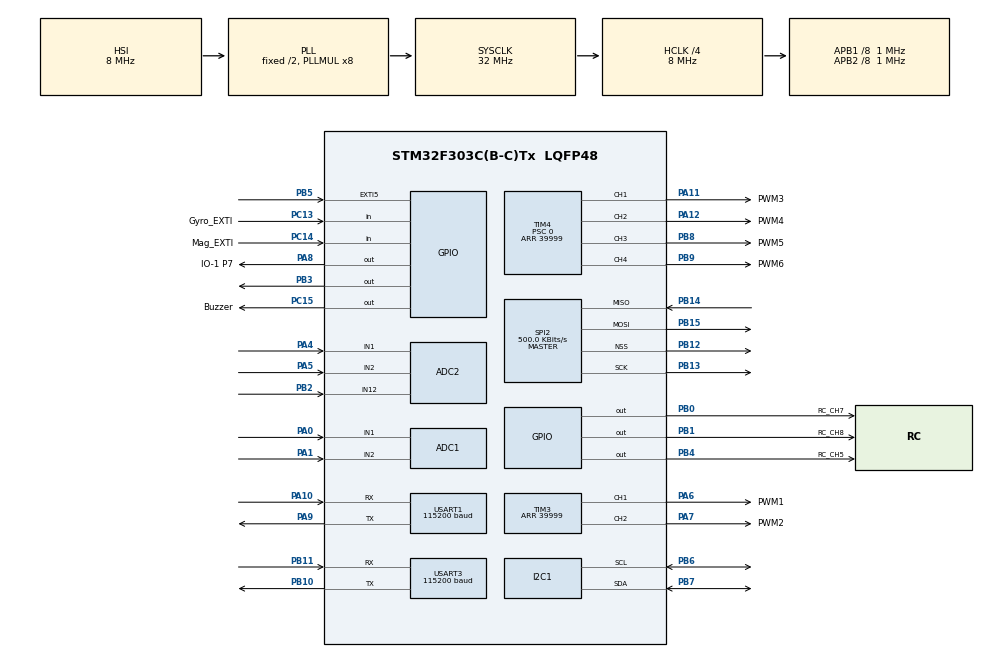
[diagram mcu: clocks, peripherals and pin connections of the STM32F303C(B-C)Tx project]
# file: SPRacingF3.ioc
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ADC1.Channel-0\#ChannelRegularConversion=ADC_CHANNEL_2
ADC1.NbrOfConversionFlag=1
ADC1.Offset-0\#ChannelRegularConversion=0
ADC1.OffsetNumber-0\#ChannelRegularConversion=ADC_OFFSET_NONE
ADC1.Rank-0\#ChannelRegularConversion=1
ADC1.SamplingTime-0\#ChannelRegularConversion=ADC_SAMPLETIME_1CYCLE_5
ADC1.master=1
ADC2.Channel-0\#ChannelRegularConversion=ADC_CHANNEL_1
ADC2.NbrOfConversionFlag=1
ADC2.Offset-0\#ChannelRegularConversion=0
ADC2.OffsetNumber-0\#ChannelRegularConversion=ADC_OFFSET_NONE
ADC2.Rank-0\#ChannelRegularConversion=1
ADC2.SamplingTime-0\#ChannelRegularConversion=ADC_SAMPLETIME_1CYCLE_5
Dma.Request0=USART3_RX
Dma.Request1=USART3_TX
Dma.USART3_RX.0.Direction=DMA_PERIPH_TO_MEMORY
Dma.USART3_RX.0.Instance=DMA1_Channel3
Dma.USART3_RX.0.MemDataAlignment=DMA_MDATAALIGN_BYTE
Dma.USART3_RX.0.MemInc=DMA_MINC_ENABLE
Dma.USART3_RX.0.Mode=DMA_CIRCULAR
Dma.USART3_RX.0.PeriphDataAlignment=DMA_PDATAALIGN_BYTE
Dma.USART3_RX.0.PeriphInc=DMA_PINC_DISABLE
Dma.USART3_RX.0.Priority=DMA_PRIORITY_LOW
Dma.USART3_TX.1.Direction=DMA_MEMORY_TO_PERIPH
Dma.USART3_TX.1.Instance=DMA1_Channel2
Dma.USART3_TX.1.MemDataAlignment=DMA_MDATAALIGN_BYTE
Dma.USART3_TX.1.MemInc=DMA_MINC_ENABLE
Dma.USART3_TX.1.Mode=DMA_NORMAL
Dma.USART3_TX.1.PeriphDataAlignment=DMA_PDATAALIGN_BYTE
Dma.USART3_TX.1.PeriphInc=DMA_PINC_DISABLE
Dma.USART3_TX.1.Priority=DMA_PRIORITY_LOW
FREERTOS.Tasks01=defaultTask,24,128,StartDefaultTask,Default,NULL,Dynamic,NULL,NULL
I2C1.Timing=0x00201D2B
Mcu.Family=STM32F3
Mcu.Name=STM32F303C(B-C)Tx
Mcu.Package=LQFP48
NVIC.DMA1_Channel2_IRQn=true\:5\:0\:false\:false\:true\:true\:false\:true\:true
NVIC.DMA1_Channel3_IRQn=true\:5\:0\:false\:false\:true\:true\:false\:true\:true
NVIC.PriorityGroup=NVIC_PRIORITYGROUP_4
NVIC.TIM1_UP_TIM16_IRQn=true\:15\:0\:false\:false\:true\:false\:false\:true\:true
NVIC.TimeBase=TIM1_UP_TIM16_IRQn
NVIC.TimeBaseIP=TIM1
NVIC.USART1_IRQn=true\:5\:0\:false\:false\:true\:true\:true\:true\:true
NVIC.USART3_IRQn=true\:5\:0\:false\:false\:true\:true\:true\:true\:true
PA0.Mode=IN1-Single-Ended
PA0.Signal=ADC1_IN1
PA1.Mode=IN2-Single-Ended
PA1.Signal=ADC1_IN2
PA10.Mode=Asynchronous
PA10.Signal=USART1_RX
PA11.GPIO_Label=PWM3
PA11.Signal=S_TIM4_CH1
PA12.GPIO_Label=PWM4
PA12.Signal=S_TIM4_CH2
PA13.Mode=Serial_Wire
PA13.Signal=SYS_JTMS-SWDIO
PA14.Mode=Serial_Wire
PA14.Signal=SYS_JTCK-SWCLK
PA2.Signal=S_TIM2_CH3
PA3.Signal=USART2_RX
PA4.Mode=IN1-Single-Ended
PA4.Signal=ADC2_IN1
PA5.Mode=IN2-Single-Ended
PA5.Signal=ADC2_IN2
PA6.GPIO_Label=PWM1
PA6.Signal=S_TIM3_CH1
PA7.GPIO_Label=PWM2
PA7.Signal=S_TIM3_CH2
PA8.GPIO_Label=IO-1 P7
PA8.Signal=GPIO_Output
PA9.Mode=Asynchronous
PA9.Signal=USART1_TX
PB0.GPIO_Label=RC_CH7
PB0.Signal=GPIO_Output
PB1.GPIO_Label=RC_CH8
PB1.Signal=GPIO_Output
PB10.Mode=Asynchronous
PB10.Signal=USART3_TX
PB11.Mode=Asynchronous
PB11.Signal=USART3_RX
PB12.Mode=NSS_Signal_Hard_Output
PB12.Signal=SPI2_NSS
PB13.Mode=Full_Duplex_Master
PB13.Signal=SPI2_SCK
PB14.Mode=Full_Duplex_Master
PB14.Signal=SPI2_MISO
PB15.Mode=Full_Duplex_Master
PB15.Signal=SPI2_MOSI
PB2.Mode=IN12-Single-Ended
PB2.Signal=ADC2_IN12
PB3.Signal=GPIO_Output
PB4.GPIO_Label=RC_CH5
PB4.Signal=GPIO_Output
PB5.Signal=GPXTI5
PB6.Mode=I2C
PB6.Signal=I2C1_SCL
PB7.Mode=I2C
PB7.Signal=I2C1_SDA
PB8.GPIO_Label=PWM5
PB8.Signal=S_TIM4_CH3
PB9.GPIO_Label=PWM6
PB9.Signal=S_TIM4_CH4
PC13.GPIO_Label=Gyro_EXTI
PC13.Signal=GPIO_Input
PC14-OSC32_IN.GPIO_Label=Mag_EXTI
PC14-OSC32_IN.Signal=GPIO_Input
PC15-OSC32_OUT.GPIO_Label=Buzzer
PC15-OSC32_OUT.Signal=GPIO_Output
PF0-OSC_IN.Mode=HSE-External-Oscillator
PF0-OSC_IN.Signal=RCC_OSC_IN
PF1-OSC_OUT.Mode=HSE-External-Oscillator
PF1-OSC_OUT.Signal=RCC_OSC_OUT
ProjectManager.HeapSize=0x200
ProjectManager.StackSize=0x400
ProjectManager.TargetToolchain=CMake
RCC.AHBCLKDivider=RCC_SYSCLK_DIV4
RCC.AHBFreq_Value=8000000
RCC.APB1CLKDivider=RCC_HCLK_DIV8
RCC.APB1Freq_Value=1000000
RCC.APB1TimFreq_Value=2000000
RCC.APB2CLKDivider=RCC_HCLK_DIV8
RCC.APB2Freq_Value=1000000
RCC.APB2TimFreq_Value=2000000
RCC.CortexFreq_Value=8000000
RCC.HCLKFreq_Value=8000000
RCC.HSE_VALUE=8000000
RCC.HSI_VALUE=8000000
RCC.LSE_VALUE=32768
RCC.PLLMUL=RCC_PLL_MUL8
RCC.SYSCLKFreq_VALUE=32000000
RCC.SYSCLKSourceVirtual=RCC_SYSCLKSOURCE_PLLCLK
RCC.USBFreq_Value=32000000
RCC.Usart1ClockSelection=RCC_USART1CLKSOURCE_HSI
RCC.Usart2ClockSelection=RCC_USART2CLKSOURCE_HSI
RCC.Usart3ClockSelection=RCC_USART3CLKSOURCE_HSI
SH.S_TIM2_CH3.0=TIM2_CH3
SH.S_TIM3_CH1.0=TIM3_CH1,PWM Generation1 CH1
SH.S_TIM3_CH2.0=TIM3_CH2,PWM Generation2 CH2
SH.S_TIM4_CH1.0=TIM4_CH1,PWM Generation1 CH1
SH.S_TIM4_CH2.0=TIM4_CH2,PWM Generation2 CH2
SH.S_TIM4_CH3.0=TIM4_CH3,PWM Generation3 CH3
SH.S_TIM4_CH4.0=TIM4_CH4,PWM Generation4 CH4
SPI2.BaudRatePrescaler=SPI_BAUDRATEPRESCALER_2
SPI2.CalculateBaudRate=500.0 KBits/s
SPI2.DataSize=SPI_DATASIZE_8BIT
SPI2.Direction=SPI_DIRECTION_2LINES
SPI2.Mode=SPI_MODE_MASTER
SPI2.VirtualNSS=VM_NSSHARD
SPI2.VirtualType=VM_MASTER
TIM2.Period=39999
TIM3.Channel-PWM\ Generation1\ CH1=TIM_CHANNEL_1
TIM3.Channel-PWM\ Generation2\ CH2=TIM_CHANNEL_2
TIM3.Period=39999
TIM4.Channel-PWM\ Generation1\ CH1=TIM_CHANNEL_1
TIM4.Channel-PWM\ Generation2\ CH2=TIM_CHANNEL_2
TIM4.Channel-PWM\ Generation3\ CH3=TIM_CHANNEL_3
TIM4.Channel-PWM\ Generation4\ CH4=TIM_CHANNEL_4
TIM4.Period=39999
TIM4.Prescaler=0
TIM7.Period=999
TIM7.Prescaler=7
USART1.BaudRate=115200
USART1.VirtualMode-Asynchronous=VM_ASYNC
USART3.BaudRate=115200
USART3.VirtualMode-Asynchronous=VM_ASYNC
VP_ADC1_TempSens_Input.Mode=IN-TempSens
VP_ADC1_Vbat_Input.Mode=IN-Vbat
VP_FREERTOS_VS_CMSIS_V2.Mode=CMSIS_V2
VP_SYS_VS_tim1.Mode=TIM1
VP_TIM2_VS_ClockSourceINT.Mode=Internal
VP_TIM3_VS_ClockSourceINT.Mode=Internal
VP_TIM4_VS_ClockSourceINT.Mode=Internal
VP_TIM7_VS_ClockSourceINT.Mode=Enable_Timer
board=custom

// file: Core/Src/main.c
/* USER CODE BEGIN Header */
/**
  ******************************************************************************
  * @file           : main.c
  * @brief          : Main program body
  ******************************************************************************
  * @attention
  *
  * Copyright (c) 2025 STMicroelectronics.
  * All rights reserved.
  *
  * This software is licensed under terms that can be found in the LICENSE file
  * in the root directory of this software component.
  * If no LICENSE file comes with this software, it is provided AS-IS.
  *
  ******************************************************************************
  */
/* USER CODE END Header */
#include "main.h"
#include "cmsis_os.h"
#include "adc.h"
#include "dma.h"
#include "i2c.h"
#include "spi.h"
#include "tim.h"
#include "usart.h"
#include "gpio.h"

/* USER CODE BEGIN Includes */
#include <stdio.h>
#include "Uart.h"
#include "TelemetryStream.h"
/* USER CODE END Includes */

/* USER CODE BEGIN PTD */
// volatile uint8_t MS5837counter = 0;
volatile uint8_t sample_flag = 0;
volatile uint32_t packetsendcounter = 0;

volatile uint8_t sensorsampleflag = 0;
volatile uint8_t sensorcounter = 0;

volatile uint8_t orientationcounter = 0;
volatile uint8_t orientationsampleflag = 0;

volatile uint8_t powercounter = 0;
volatile uint8_t powersampleflag = 0;

volatile uint8_t environmentalcounter = 0;
volatile uint8_t environmentalsampleflag = 0;

/* USER CODE END PTD */

void SystemClock_Config(void);
void MX_FREERTOS_Init(void);

int main(void)
{

  /* MCU Configuration--------------------------------------------------------*/

  /* Reset of all peripherals, Initializes the Flash interface and the Systick. */
  HAL_Init();

  /* Configure the system clock */
  SystemClock_Config();

  /* Initialize all configured peripherals */
  MX_GPIO_Init();
  MX_DMA_Init();
  MX_ADC2_Init();
  MX_I2C1_Init();
  MX_SPI2_Init();
  MX_TIM3_Init();
  MX_TIM4_Init();
  MX_USART1_UART_Init();
  MX_USART3_UART_Init();
  MX_TIM2_Init();
  MX_ADC1_Init();
  MX_TIM7_Init();
  /* USER CODE BEGIN 2 */

  HAL_TIM_Base_Start_IT(&htim7);

  printf("BOOTING UP THE SEASTAR!\n");

  /* USER CODE END 2 */

  /* Init scheduler */
  osKernelInitialize();  /* Call init function for freertos objects (in cmsis_os2.c) */
  MX_FREERTOS_Init();

  /* Start scheduler */
  osKernelStart();

  /* We should never get here as control is now taken by the scheduler */

  /* Infinite loop */
  while (1)
  {

  }
}

void SystemClock_Config(void)
{
  RCC_OscInitTypeDef RCC_OscInitStruct = {0};
  RCC_ClkInitTypeDef RCC_ClkInitStruct = {0};
  RCC_PeriphCLKInitTypeDef PeriphClkInit = {0};

  /** Initializes the RCC Oscillators according to the specified parameters
  * in the RCC_OscInitTypeDef structure.
  */
  RCC_OscInitStruct.OscillatorType = RCC_OSCILLATORTYPE_HSI;
  RCC_OscInitStruct.HSIState = RCC_HSI_ON;
  RCC_OscInitStruct.HSICalibrationValue = RCC_HSICALIBRATION_DEFAULT;
  RCC_OscInitStruct.PLL.PLLState = RCC_PLL_ON;
  RCC_OscInitStruct.PLL.PLLSource = RCC_PLLSOURCE_HSI;
  RCC_OscInitStruct.PLL.PLLMUL = RCC_PLL_MUL8;
  if (HAL_RCC_OscConfig(&RCC_OscInitStruct) != HAL_OK)
  {
    Error_Handler();
  }

  /** Initializes the CPU, AHB and APB buses clocks
  */
  RCC_ClkInitStruct.ClockType = RCC_CLOCKTYPE_HCLK|RCC_CLOCKTYPE_SYSCLK
                              |RCC_CLOCKTYPE_PCLK1|RCC_CLOCKTYPE_PCLK2;
  RCC_ClkInitStruct.SYSCLKSource = RCC_SYSCLKSOURCE_PLLCLK;
  RCC_ClkInitStruct.AHBCLKDivider = RCC_SYSCLK_DIV4;
  RCC_ClkInitStruct.APB1CLKDivider = RCC_HCLK_DIV8;
  RCC_ClkInitStruct.APB2CLKDivider = RCC_HCLK_DIV8;

  if (HAL_RCC_ClockConfig(&RCC_ClkInitStruct, FLASH_LATENCY_0) != HAL_OK)
  {
    Error_Handler();
  }
  PeriphClkInit.PeriphClockSelection = RCC_PERIPHCLK_USART1|RCC_PERIPHCLK_USART3
                              |RCC_PERIPHCLK_I2C1|RCC_PERIPHCLK_ADC12;
  PeriphClkInit.Usart1ClockSelection = RCC_USART1CLKSOURCE_HSI;
  PeriphClkInit.Usart3ClockSelection = RCC_USART3CLKSOURCE_HSI;
  PeriphClkInit.Adc12ClockSelection = RCC_ADC12PLLCLK_DIV1;
  PeriphClkInit.I2c1ClockSelection = RCC_I2C1CLKSOURCE_HSI;
  if (HAL_RCCEx_PeriphCLKConfig(&PeriphClkInit) != HAL_OK)
  {
    Error_Handler();
  }
}

void HAL_TIM_PeriodElapsedCallback(TIM_HandleTypeDef *htim)
{
  if (htim->Instance == TIM1)
  {
    HAL_IncTick();
  }
  /* USER CODE BEGIN Callback 1 */
  if(htim -> Instance == TIM7){

        sensorcounter++;
        packetsendcounter++;
        orientationcounter++;
        environmentalcounter++;
        powercounter++;

        if (sensorcounter >= 90) {
            sensorsampleflag = 1;
            sensorcounter = 0;
        }

        if (orientationcounter >= 40) {
            orientationsampleflag = 1;
            orientationcounter = 0;
        }

        if (powercounter >= 210) {
            powersampleflag = 1;
            powercounter = 0;
        }

        if (environmentalcounter >= 100) {
            environmentalsampleflag = 1;
            environmentalcounter = 0;
        }
      }
  /* USER CODE END Callback 1 */
}

void Error_Handler(void)
{
  __disable_irq();
  while (1)
  {
  }
}

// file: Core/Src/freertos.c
/* USER CODE BEGIN Header */
/**
  ******************************************************************************
  * File Name          : freertos.c
  * Description        : Code for freertos applications
  ******************************************************************************
  * @attention
  *
  * Copyright (c) 2025 STMicroelectronics.
  * All rights reserved.
  *
  * This software is licensed under terms that can be found in the LICENSE file
  * in the root directory of this software component.
  * If no LICENSE file comes with this software, it is provided AS-IS.
  *
  ******************************************************************************
  */
/* USER CODE END Header */

#include "FreeRTOS.h"
#include "cmsis_os2.h"
#include "task.h"
#include "main.h"
#include "cmsis_os.h"

/* USER CODE BEGIN Includes */
#include <math.h>
#include <pwm.h>
#include <stdint.h>
#include <stdio.h>
#include <usart.h>
#include <i2c.h>
#include "MPU6050.h"
#include "Uart.h"
#include "UartProtocol.h"
#include "TelemetryStream.h"
#include "FSM.h"
#include "ControlLoop.h"
#include "TSYS01TemperatureSensor.h"
#include "MS5837PressureSensor.h"
#include "LeakDetection.h"
#include "tim.h"
#include "TelemetryStream.h"
#include "MPU6050.h"
#include "HMC5883L.h"
#include "Fusion.h"
#include "FusionMath.h"
#include "acs37800.h"

/* USER CODE END Includes */

/* USER CODE BEGIN PTD */

TSY01_TemperatureSensor_t temp_sensor;
MS5837_PressureSensor_t pressure_sensor;

extern volatile control_command_t thruster_command;
extern environmental_packet_t environmetal_telemetry_packet;
uint8_t uart2_rx_byte;

/* USER CODE END PTD */

/* USER CODE BEGIN PD */

#define MAX_ROLL 30.0f
#define MAX_PITCH 30.0f
#define THRUSTER_SAMPLE_RATE 50

/* USER CODE END PD */

/* USER CODE BEGIN Variables */

osThreadId_t SamplingTaskHandle;
const osThreadAttr_t SamplingTask_attributes = {
  .name = "SamplingTask",
  .stack_size = 384 * 4,
  .priority = (osPriority_t) osPriorityHigh,
};

osThreadId_t UartStreamTaskHandle;
const osThreadAttr_t UartStreamTask_attributes = {
  .name = "UartStreamTask",
  .stack_size = 384 * 4,
  .priority = (osPriority_t) osPriorityHigh1,
};

osThreadId_t TelemetryStreamTaskHandle;
const osThreadAttr_t TelemetryStreamTask_attributes = {
  .name = "TelemetryStreamTask",
  .stack_size = 384 * 4,
  .priority = (osPriority_t) osPriorityHigh2,
};

osThreadId_t StateMachineTaskHandle;
const osThreadAttr_t StateMachineTask_attributes = {
  .name = "StateMachineTask",
  .stack_size = 128 * 4,
  .priority = (osPriority_t) osPriorityNormal2,
};

osThreadId_t SystemHealthMonitorTask;
const osThreadAttr_t SystemHealthMonitorTask_attributes = {
  .name = "SystemHealthMonitorTask",
  .stack_size = 128 * 4,
  .priority = (osPriority_t) osPriorityHigh4,
};

osThreadId_t PropulsionTaskHandle;
const osThreadAttr_t PropulsionTask_attributes = {
  .name = "PropulsionTask",
  .stack_size = 4094  * 4,
  .priority = (osPriority_t) osPriorityHigh,
};

/* USER CODE END Variables */
/* Definitions for defaultTask */

osThreadId_t defaultTaskHandle;
const osThreadAttr_t defaultTask_attributes = {
  .name = "defaultTask",
  .stack_size = 128 * 4,
  .priority = (osPriority_t) osPriorityNormal,
};

/* USER CODE BEGIN FunctionPrototypes */

void StartSamplingTask(void *argument);
void StartWiredUARTStream(void *argument);
void StartStateMachineTask(void *argument);
void StartTelemetryStreamTask(void *argument);
void StartSystemHealthMonitorTask(void *argument);
void Propulsion_Task(void *argument);

/* USER CODE END FunctionPrototypes */

void StartDefaultTask(void *argument);
void MX_FREERTOS_Init(void); /* (MISRA C 2004 rule 8.1) */

void MX_FREERTOS_Init(void) {

  /* Create the thread(s) */
  /* creation of defaultTask */
   //defaultTaskHandle = osThreadNew(StartDefaultTask, NULL, &defaultTask_attributes);

  /* USER CODE BEGIN RTOS_THREADS */

   UartStreamTaskHandle      = osThreadNew(StartWiredUARTStream, NULL, &UartStreamTask_attributes);
   StateMachineTaskHandle    = osThreadNew(StartStateMachineTask, NULL, &StateMachineTask_attributes);
   SystemHealthMonitorTask   = osThreadNew(StartSystemHealthMonitorTask, NULL, &SystemHealthMonitorTask_attributes);
   PropulsionTaskHandle      = osThreadNew(Propulsion_Task, NULL, &PropulsionTask_attributes);

  /* USER CODE END RTOS_THREADS */

}

void StartWiredUARTStream(void *argument)
{
    UART3_INIT_RxDMA();
    printf("\r\n");
    printf("|Uart Task has been initialized...|\r\n");
    printf("\r\n");

    Packet_Sent_t rxPacket;

    for (;;)
    {

        UART3_Traverse_RxDMA();

        if (environmentalsampleflag && baseline_set)   //Baseline set means the pressure sensor has been callibrated around the initial atmospheric pressure readings
        {

            environmentalsampleflag = 0;

            environmetal_telemetry_packet.depth       = (int32_t)(pressure_sensor.Depth_m * 1000.0f);
            environmetal_telemetry_packet.pressure_Pa = (int32_t)(pressure_sensor.Pressure_Pa) + pressure_offset;
            environmetal_telemetry_packet.temp        = (int32_t)(temp_sensor.Temperature_C * 1000.00f);

            TelemetryStream_SendEnvironmental(&environmetal_telemetry_packet);

        }
        else if (orientationsampleflag && baseline_set)
        {
            orientationsampleflag = 0;
            TelemetryStream_SendOrientation(&positional_telemetry_packet);
        }

        else if (BuildRxPacket(&rxPacket, 0))
        {
            Protocol_ParsePacket(&rxPacket);
        }

        osDelay(1);
    }
  /* USER CODE END 5 */
}

void StartStateMachineTask(void *argument)
{
  /* USER CODE BEGIN 5 */

  printf("\r\n");
  printf("|State Machine Task has been initialized...|\r\n");
  printf("\r\n");

  /* Infinite loop */
  for(;;)
  {

    SeaSTAR_FSM();
    osDelay(500);

  }
  /* USER CODE END 5 */

}

void StartSystemHealthMonitorTask(void *argument)
{
  /* USER CODE BEGIN 5 */
  printf("\r\n");
  printf("|Initializing system health monitor task...|\r\n");
  printf("\r\n");

  /* Infinite loop */
  for(;;)
  {

    //MONITOR LEAKS
    if(!leakLatched){ LeakSensor_Read();}

    //MONITOR COMMUNICATION STATUS
    if(heartbeat_enabled ==  1){
      communication_status();
    }

    osDelay(1000);
  }

  /* USER CODE END 5 */

}

void Propulsion_Task(void *argument){

  printf("\r\n");
  printf("|Sensor and Propulsion Task has been initialized...|\r\n");
  printf("\r\n");

  PWM_Init();

  PWM_SampleClosedPosition();
  Control_Update_Command(0,0,0,0,0);

  //Initialize environmental sensors
  Init_TSYS01(&temp_sensor, &hi2c1);
  Init_MS5837(&pressure_sensor, &hi2c1);

  // Take the average of the initial atmospheric pressure reading
  surface_pressure_pa = Callibrate_MS5837(&pressure_sensor, SURFACE_PRESSURE_AVERAGE);

  MPU6050_Init(&hi2c1);

  // float current = 0;
  // float voltage = 0;

  float roll = 0;
  float pitch = 0;

  float commandedRoll = 0;
  float commandedPitch = 0;

  float pitchCoeff = 10.0;
  float rollCoeff = 10.0;
  float depthCoeff = 0.50;

  float pitchError = 0;
  float rollError = 0;
  float depthError = 0;

  float pitchCorrection = 0;
  float rollCorrection = 0;
  float depthCorrection = 0;

  MPU6050_t mpu_data;
  float lastDepth = 0;

  for(int i = 0; i < 10; i++){
    MPU6050_Read_All(&mpu_data);
    gyroscopeOffset.axis.x += mpu_data.Gx;
    gyroscopeOffset.axis.y += mpu_data.Gy;
    gyroscopeOffset.axis.z += mpu_data.Gz;
    osDelay(100);
  }
  gyroscopeOffset.axis.x /= 10.0;
  gyroscopeOffset.axis.y /= 10.0;
  gyroscopeOffset.axis.z /= 10.0;

  uint16_t t1, t2, t3, t4, t5;

  propulsion_initialized = 1; //Update conditional to exit boot mode.

  while(1){

    // sample environmental sensors every 100ms
  if (sensorsampleflag)
      {
          sensorsampleflag = 0;

          Read_TSYS01(&temp_sensor);
          Read_MS5837(&pressure_sensor);
      }

  MPU6050_Read_All(&mpu_data);
  if (hi2c1.ErrorCode != HAL_I2C_ERROR_NONE)
  {

      HAL_I2C_DeInit(&hi2c1);
      osDelay(5);
      HAL_I2C_Init(&hi2c1);
      osDelay(5);

      MPU6050_Init(&hi2c1);
  }

    roll = atan(mpu_data.Ax)*(180.0/M_PI);
    pitch =  atan(mpu_data.Ay)*(180.0/M_PI);

    // SEND THE EULER ANGLES AS A PACKET //

    positional_telemetry_packet.yaw = (int16_t)(0 * 100.0f);
    positional_telemetry_packet.pitch = (int16_t)(pitch * 100.0f);
    positional_telemetry_packet.roll = (int16_t)(roll * 100.0f);

    commandedRoll = -1*thruster_command.joystick2x*MAX_ROLL/1000.0;
    commandedPitch = thruster_command.joystick2y*MAX_PITCH/1000.0;

    pitchError = commandedPitch - pitch;
    rollError = commandedRoll - roll;

    if(thruster_command.trigger == 0){
      depthError = lastDepth - (float)environmetal_telemetry_packet.depth;
    }else{
      depthError = (float)(thruster_command.trigger);
      lastDepth = (float)environmetal_telemetry_packet.depth;
    }

    pitchCorrection = pitchCoeff*pitchError;
    rollCorrection = rollCoeff*rollError;
    depthCorrection = depthCoeff*depthError;

    if(rollCorrection>200)rollCorrection = 200;
    if(rollCorrection<-200)rollCorrection = -200;

    if(pitchCorrection>200)pitchCorrection = 200;
    if(pitchCorrection<-200)pitchCorrection = -200;

    // if(current > 25.0){
    //   float currentScalar = -0.2*(current-30.0);
    //   if(currentScalar < 0) currentScalar = 0;

    //   t1 = 1500 + currentScalar*((thruster_command.joystick1y/2.0) - (thruster_command.joystick1x/2.0));
    //   t2 = 1500 + currentScalar*((thruster_command.joystick1y/2.0) - (thruster_command.joystick1x/2.0));
    //   t3 = 1500 + currentScalar*(PWM_GetPeriod(PWM_3) - 1500 + pitchCorrection - rollCorrection + depthCorrection);
    //   t4 = 1500 + currentScalar*(PWM_GetPeriod(PWM_4) - 1500  + pitchCorrection + rollCorrection + depthCorrection);
    //   t5 = 1500 + currentScalar*(PWM_GetPeriod(PWM_5) - 1500 - pitchCorrection + depthCorrection);
    // }else {
      t1 = 1500.0 + ((-1*(float)thruster_command.joystick1y)/2.0) + (((float)thruster_command.joystick1x)/2.0);
      t2 = 1500.0 + ((-1*(float)thruster_command.joystick1y)/2.0) - (((float)thruster_command.joystick1x)/2.0);
      t3 = 1500.0 + (float)(-pitchCorrection - rollCorrection + depthCorrection);
      t4 = 1500.0 + (float)(-pitchCorrection + rollCorrection + depthCorrection);
      t5 = 1500.0 + (float)(2.0*pitchCorrection + depthCorrection);
    //}
    if(t1>2000)t1=2000;
    if(t2>2000)t2=2000;
    if(t3>2000)t3=2000;
    if(t4>2000)t4=2000;
    if(t5>2000)t5=2000;

    if(t1<1000)t1=1000;
    if(t2<1000)t2=1000;
    if(t3<1000)t3=1000;
    if(t4<1000)t4=1000;
    if(t5<1000)t5=1000;

    PWM_SetThrusterPeriods(t1,t2,t3,t4,t5);

    osDelay(50); // small consistent loop rate

    }
}

/* USER CODE END Application */
